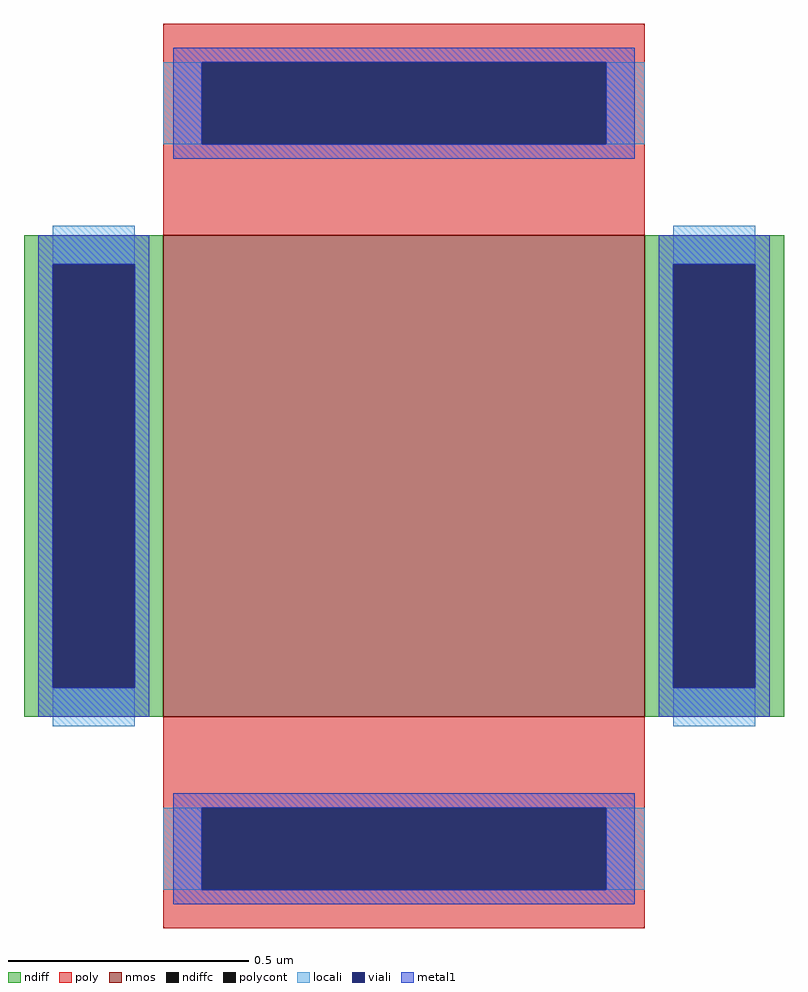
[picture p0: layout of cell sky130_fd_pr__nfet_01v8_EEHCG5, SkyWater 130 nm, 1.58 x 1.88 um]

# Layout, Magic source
magic
tech sky130A
<< nmos >>
rect -50 -50 50 50
<< ndiff >>
rect -79 44 -50 50
rect -79 -44 -73 44
rect -56 -44 -50 44
rect -79 -50 -50 -44
rect 50 44 79 50
rect 50 -44 56 44
rect 73 -44 79 44
rect 50 -50 79 -44
<< ndiffc >>
rect -73 -44 -56 44
rect 56 -44 73 44
<< poly >>
rect -50 86 50 94
rect -50 69 -42 86
rect 42 69 50 86
rect -50 50 50 69
rect -50 -69 50 -50
rect -50 -86 -42 -69
rect 42 -86 50 -69
rect -50 -94 50 -86
<< polycont >>
rect -42 69 42 86
rect -42 -86 42 -69
<< locali >>
rect -50 69 -42 86
rect 42 69 50 86
rect -73 44 -56 52
rect -73 -52 -56 -44
rect 56 44 73 52
rect 56 -52 73 -44
rect -50 -86 -42 -69
rect 42 -86 50 -69
<< viali >>
rect -42 69 42 86
rect -73 -44 -56 44
rect 56 -44 73 44
rect -42 -86 42 -69
<< metal1 >>
rect -48 86 48 89
rect -48 69 -42 86
rect 42 69 48 86
rect -48 66 48 69
rect -76 44 -53 50
rect -76 -44 -73 44
rect -56 -44 -53 44
rect -76 -50 -53 -44
rect 53 44 76 50
rect 53 -44 56 44
rect 73 -44 76 44
rect 53 -50 76 -44
rect -48 -69 48 -66
rect -48 -86 -42 -69
rect 42 -86 48 -69
rect -48 -89 48 -86
<< properties >>
string gencell sky130_fd_pr__nfet_01v8
string library sky130
string parameters w 1.0 l 1.0 m 1 nf 1 diffcov 100 polycov 100 guard 0 glc 0 grc 0 gtc 0 gbc 0 tbcov 100 rlcov 100 topc 1 botc 1 poverlap 0 doverlap 1 lmin 0.15 wmin 0.42 compatible {sky130_fd_pr__nfet_01v8 sky130_fd_pr__nfet_01v8_lvt  sky130_fd_bs_flash__special_sonosfet_star  sky130_fd_pr__nfet_g5v0d10v5 sky130_fd_pr__nfet_05v0_nvt  sky130_fd_pr__nfet_03v3_nvt} full_metal 0 viasrc 100 viadrn 100 viagate 100 viagb 0 viagr 0 viagl 0 viagt 0
<< end >>
